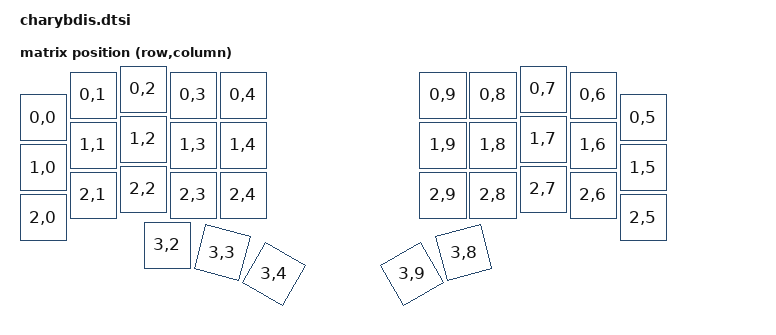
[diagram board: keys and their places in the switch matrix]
#include <dt-bindings/zmk/matrix_transform.h>
#include <physical_layouts.dtsi>
#include <dt-bindings/led/led.h>

&pinctrl {
    spi3_default: spi3_default {
        group1 {
            psels = <NRF_PSEL(SPIM_MOSI, 0, 6)>;
        };
    };

    spi3_sleep: spi3_sleep {
        group1 {
            psels = <NRF_PSEL(SPIM_MOSI, 0, 6)>;
            low-power-enable;
        };
    };
};

&spi3 {
    compatible = "nordic,nrf-spim";
    status = "disabled";

    pinctrl-0 = <&spi3_default>;
    pinctrl-1 = <&spi3_sleep>;
    pinctrl-names = "default", "sleep";

    led_strip: ws2812@0 {
        compatible = "worldsemi,ws2812-spi";

        /* SPI */
        reg = <0>; /* ignored, but necessary for SPI bindings */
        spi-max-frequency = <4000000>;

        /* WS2812 */
        chain-length = <18>; /* number of LEDs */
        spi-one-frame = <0x70>;
        spi-zero-frame = <0x40>;
        color-mapping = <LED_COLOR_ID_GREEN
                         LED_COLOR_ID_RED
                         LED_COLOR_ID_BLUE>;
    };
};

/ {
    chosen {
        zmk,kscan = &kscan0;
        zmk,physical-layout = &charybdis_5col_layout;
        /* zmk,underglow = &led_strip; */
    };

    default_transform: keymap_transform_0 {
        compatible = "zmk,matrix-transform";
        columns = <10>;
        rows = <4>;

        map = <
	RC(0,0) RC(0,1) RC(0,2) RC(0,3) RC(0,4)  RC(0,9) RC(0,8) RC(0,7) RC(0,6) RC(0,5)
	RC(1,0) RC(1,1) RC(1,2) RC(1,3) RC(1,4)  RC(1,9) RC(1,8) RC(1,7) RC(1,6) RC(1,5)
	RC(2,0) RC(2,1) RC(2,2) RC(2,3) RC(2,4)  RC(2,9) RC(2,8) RC(2,7) RC(2,6) RC(2,5)
					RC(3,2) RC(3,3) RC(3,4)  RC(3,9) RC(3,8)
        >;
    };
	
    kscan0: kscan {
        diode-direction = "row2col";
    };

    charybdis_5col_layout: charybdis_5col_layout{
        compatible = "zmk,physical-layout";
        display-name = "5-column";

        transform = <&default_transform>;

        keys  //                     w   h    x    y     rot    rx    ry
            = <&key_physical_attrs 100 100    0   57       0     0     0>
            , <&key_physical_attrs 100 100  100   12       0     0     0>
            , <&key_physical_attrs 100 100  200    0       0     0     0>
            , <&key_physical_attrs 100 100  300   12       0     0     0>
            , <&key_physical_attrs 100 100  400   12       0     0     0>
            , <&key_physical_attrs 100 100  800   12       0     0     0>
            , <&key_physical_attrs 100 100  900   12       0     0     0>
            , <&key_physical_attrs 100 100 1000    0       0     0     0>
            , <&key_physical_attrs 100 100 1100   12       0     0     0>
            , <&key_physical_attrs 100 100 1200   57       0     0     0>
            , <&key_physical_attrs 100 100    0  157       0     0     0>
            , <&key_physical_attrs 100 100  100  112       0     0     0>
            , <&key_physical_attrs 100 100  200  100       0     0     0>
            , <&key_physical_attrs 100 100  300  112       0     0     0>
            , <&key_physical_attrs 100 100  400  112       0     0     0>
            , <&key_physical_attrs 100 100  800  112       0     0     0>
            , <&key_physical_attrs 100 100  900  112       0     0     0>
            , <&key_physical_attrs 100 100 1000  100       0     0     0>
            , <&key_physical_attrs 100 100 1100  112       0     0     0>
            , <&key_physical_attrs 100 100 1200  157       0     0     0>
            , <&key_physical_attrs 100 100    0  257       0     0     0>
            , <&key_physical_attrs 100 100  100  212       0     0     0>
            , <&key_physical_attrs 100 100  200  200       0     0     0>
            , <&key_physical_attrs 100 100  300  212       0     0     0>
            , <&key_physical_attrs 100 100  400  212       0     0     0>
            , <&key_physical_attrs 100 100  800  212       0     0     0>
            , <&key_physical_attrs 100 100  900  212       0     0     0>
            , <&key_physical_attrs 100 100 1000  200       0     0     0>
            , <&key_physical_attrs 100 100 1100  212       0     0     0>
            , <&key_physical_attrs 100 100 1200  257       0     0     0>
            , <&key_physical_attrs 100 100  248  312       0     0     0>
            , <&key_physical_attrs 100 100  248  312    1500   298   789>
            , <&key_physical_attrs 100 100  248  312    3000   298   789>
            , <&key_physical_attrs 100 100  952  312 (-3000)  1002   789>
            , <&key_physical_attrs 100 100  952  312 (-1500)  1002   789>
            ;
    };

    charybdis_position_map {
        compatible = "zmk,physical-layout-position-map";

        complete;

        ten {
            physical-layout = <&charybdis_5col_layout>;
            positions
                = <35  0  1  2  3  4  5  6  7  8  9 36>
                , <37 10 11 12 13 14 15 16 17 18 19 38>
                , <39 20 21 22 23 24 25 26 27 28 29 40>
                , <         30 31 32 33 34            >
                ;
        };
    };

    split_inputs {
        #address-cells = <1>;
        #size-cells = <0>;

        trackball_split: trackball_split@0 {
            compatible = "zmk,input-split";
            reg = <0>;
        };
    };
};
